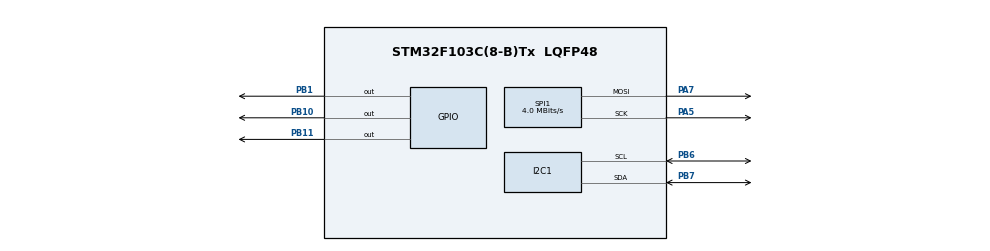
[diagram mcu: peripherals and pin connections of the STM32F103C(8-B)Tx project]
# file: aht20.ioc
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Mcu.Family=STM32F1
PA7.Mode=TX_Only_Simplex_Unidirect_Master
SPI1.VirtualType=VM_MASTER
PB11.Signal=GPIO_Output
ProjectManager.StackSize=0x400
PA13.Signal=SYS_JTMS-SWDIO
ProjectManager.TargetToolchain=MDK-ARM V5.27
I2C1.I2C_Mode=I2C_Standard
SPI1.Direction=SPI_DIRECTION_2LINES
PB6.Signal=I2C1_SCL
PB6.Mode=I2C
SPI1.CalculateBaudRate=4.0 MBits/s
PB10.Signal=GPIO_Output
PA5.Signal=SPI1_SCK
board=custom
RCC.APB2Freq_Value=8000000
SPI1.Mode=SPI_MODE_MASTER
PA14.Mode=Serial_Wire
PB7.Signal=I2C1_SDA
PA13.Mode=Serial_Wire
Mcu.Name=STM32F103C(8-B)Tx
Mcu.Package=LQFP48
PB1.Signal=GPIO_Output
PB7.Mode=I2C
PA14.Signal=SYS_JTCK-SWCLK
ProjectManager.HeapSize=0x200
NVIC.PriorityGroup=NVIC_PRIORITYGROUP_4
RCC.APB1Freq_Value=8000000
PA7.Signal=SPI1_MOSI
PA5.Mode=TX_Only_Simplex_Unidirect_Master

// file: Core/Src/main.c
/* USER CODE BEGIN Header */
/**
  ******************************************************************************
  * @file           : main.c
  * @brief          : Main program body
  ******************************************************************************
  * @attention
  *
  * <h2><center>&copy; Copyright (c) 2022 STMicroelectronics.
  * All rights reserved.</center></h2>
  *
  * This software component is licensed by ST under BSD 3-Clause license,
  * the "License"; You may not use this file except in compliance with the
  * License. You may obtain a copy of the License at:
  *                        opensource.org/licenses/BSD-3-Clause
  *
  ******************************************************************************
  */
#include <string.h>
#include <stdio.h>
/* USER CODE END Header */
#include "main.h"

I2C_HandleTypeDef hi2c1;

void SystemClock_Config(void);
static void MX_GPIO_Init(void);
static void MX_I2C1_Init(void);
static void MX_SPI1_Init(void);
/* USER CODE BEGIN PFP */
void spi_tx(uint8_t);
void clear_screen();
void send_char(char);
void send_str(char *str, int size);
void send_hex(int);
void reset_lcd();
void set_dc_state(int stat);
void init_nokia5110();
void print_str(char *str, int str_size);

void aht20_init_parms();
int check_calibration_enable_bit();
int send_init_command();
int send_measurment_command();
int read_hum_temp_data(float *hum, float *temp);
int read_measurment_status();
int init_aht20();
/* USER CODE END PFP */

/* USER CODE BEGIN 0 */

#define I2C_TIMEOUT 10000

typedef struct port_pin
{
	int pin;
	GPIO_TypeDef *port;
} port_pin;

typedef struct nokia5110_pin_mapping
{
	port_pin dc;
	port_pin ce;
	port_pin rst;
	port_pin bl;
} nokia5110_pin_mapping;

typedef struct aht20_parm
{
	uint8_t dev_addr;

	uint8_t init_command;
	uint8_t init_command_parms[2];

	uint8_t measurment_command[3];

	uint8_t get_stat_word_command;
} aht20_parm;

nokia5110_pin_mapping nokia5110;
aht20_parm aht20;

#define A 0x1f051f
#define B 0x1f150e
#define C 0x0e0a11
#define D 0x1f0a04
#define E 0x1f1515
#define F 0x1f0505
#define G 0x1f1119
#define H 0x1f041f
#define I 0x111f11
#define J 0x000000
#define K 0x000000
#define L 0x000000
#define M 0x1f061f
#define N 0x1f0c1f
#define O 0x000000
#define P 0x1f0507
#define Q 0x000000
#define R 0x000000
#define S 0x17151d
#define T 0x011f01
#define U 0x1f101f

#define ZERO 	0x1f111f
#define ONE 	0x111f10
#define TWO 	0x1d1517
#define THREE 0x15151f
#define FOUR 	0x07041f
#define FIVE 	0x17151d
#define SIX 	0x1f151d
#define SEVEN 0x01011f
#define EIGHT 0x1f151f
#define NINE 	0x17151f

#define DOT 	0x100000
#define COLON 0x001100

#define SPACE 0x000000
#define STATE_ON  1
#define STATE_OFF 0

/* USER CODE END 0 */

int main(void)
{
  /* USER CODE BEGIN 1 */
	float hum, temp;
	int rc;
  /* USER CODE END 1 */

  /* MCU Configuration--------------------------------------------------------*/

  /* Reset of all peripherals, Initializes the Flash interface and the Systick. */
  HAL_Init();

  /* Configure the system clock */
  SystemClock_Config();

  /* Initialize all configured peripherals */
  MX_GPIO_Init();
  MX_I2C1_Init();
  MX_SPI1_Init();
  /* USER CODE BEGIN 2 */

	// initiate nokia5110 pin configurations
	port_pin dc = {.port = GPIOB, .pin = LL_GPIO_PIN_11};
	port_pin rst = {.port = GPIOB, .pin = LL_GPIO_PIN_10};
	port_pin ce = {.port = GPIOB, .pin = LL_GPIO_PIN_1};
	nokia5110.dc = dc;
	nokia5110.ce = ce;
	nokia5110.rst = rst;
	//

	init_nokia5110();

	rc = init_aht20();
	if(-1 == rc)
	{
		return -1;
	}
  /* USER CODE END 2 */

  /* Infinite loop */
  /* USER CODE BEGIN WHILE */
	char str[50] = {0};
  while (1)
  {
		rc = read_hum_temp_data(&hum, &temp);
		if(-1 == rc)
		{
			return -1;
		}

		sprintf(str, "hum is:%.1f and temp is:%.1f",
		hum,temp
	);
	print_str(str, strlen(str));

	LL_mDelay(4000);

    /* USER CODE END WHILE */

  }
}

void SystemClock_Config(void)
{
  LL_FLASH_SetLatency(LL_FLASH_LATENCY_0);
  while(LL_FLASH_GetLatency()!= LL_FLASH_LATENCY_0)
  {
  }
  LL_RCC_HSI_SetCalibTrimming(16);
  LL_RCC_HSI_Enable();

   /* Wait till HSI is ready */
  while(LL_RCC_HSI_IsReady() != 1)
  {

  }
  LL_RCC_SetAHBPrescaler(LL_RCC_SYSCLK_DIV_1);
  LL_RCC_SetAPB1Prescaler(LL_RCC_APB1_DIV_1);
  LL_RCC_SetAPB2Prescaler(LL_RCC_APB2_DIV_1);
  LL_RCC_SetSysClkSource(LL_RCC_SYS_CLKSOURCE_HSI);

   /* Wait till System clock is ready */
  while(LL_RCC_GetSysClkSource() != LL_RCC_SYS_CLKSOURCE_STATUS_HSI)
  {

  }
  LL_SetSystemCoreClock(8000000);

   /* Update the time base */
  if (HAL_InitTick (TICK_INT_PRIORITY) != HAL_OK)
  {
    Error_Handler();
  }
}

static void MX_I2C1_Init(void)
{

  hi2c1.Instance = I2C1;
  hi2c1.Init.ClockSpeed = 100000;
  hi2c1.Init.DutyCycle = I2C_DUTYCYCLE_2;
  hi2c1.Init.OwnAddress1 = 0;
  hi2c1.Init.AddressingMode = I2C_ADDRESSINGMODE_7BIT;
  hi2c1.Init.DualAddressMode = I2C_DUALADDRESS_DISABLE;
  hi2c1.Init.OwnAddress2 = 0;
  hi2c1.Init.GeneralCallMode = I2C_GENERALCALL_DISABLE;
  hi2c1.Init.NoStretchMode = I2C_NOSTRETCH_DISABLE;
  if (HAL_I2C_Init(&hi2c1) != HAL_OK)
  {
    Error_Handler();
  }

}

static void MX_SPI1_Init(void)
{

  LL_SPI_InitTypeDef SPI_InitStruct = {0};

  LL_GPIO_InitTypeDef GPIO_InitStruct = {0};

  /* Peripheral clock enable */
  LL_APB2_GRP1_EnableClock(LL_APB2_GRP1_PERIPH_SPI1);

  LL_APB2_GRP1_EnableClock(LL_APB2_GRP1_PERIPH_GPIOA);
  /**SPI1 GPIO Configuration
  PA5   ------> SPI1_SCK
  PA7   ------> SPI1_MOSI
  */
  GPIO_InitStruct.Pin = LL_GPIO_PIN_5|LL_GPIO_PIN_7;
  GPIO_InitStruct.Mode = LL_GPIO_MODE_ALTERNATE;
  GPIO_InitStruct.Speed = LL_GPIO_SPEED_FREQ_HIGH;
  GPIO_InitStruct.OutputType = LL_GPIO_OUTPUT_PUSHPULL;
  LL_GPIO_Init(GPIOA, &GPIO_InitStruct);

  /* SPI1 parameter configuration*/
  SPI_InitStruct.TransferDirection = LL_SPI_FULL_DUPLEX;
  SPI_InitStruct.Mode = LL_SPI_MODE_MASTER;
  SPI_InitStruct.DataWidth = LL_SPI_DATAWIDTH_8BIT;
  SPI_InitStruct.ClockPolarity = LL_SPI_POLARITY_LOW;
  SPI_InitStruct.ClockPhase = LL_SPI_PHASE_1EDGE;
  SPI_InitStruct.NSS = LL_SPI_NSS_SOFT;
  SPI_InitStruct.BaudRate = LL_SPI_BAUDRATEPRESCALER_DIV2;
  SPI_InitStruct.BitOrder = LL_SPI_MSB_FIRST;
  SPI_InitStruct.CRCCalculation = LL_SPI_CRCCALCULATION_DISABLE;
  SPI_InitStruct.CRCPoly = 10;
  LL_SPI_Init(SPI1, &SPI_InitStruct);

}

static void MX_GPIO_Init(void)
{
  LL_GPIO_InitTypeDef GPIO_InitStruct = {0};

  /* GPIO Ports Clock Enable */
  LL_APB2_GRP1_EnableClock(LL_APB2_GRP1_PERIPH_GPIOA);
  LL_APB2_GRP1_EnableClock(LL_APB2_GRP1_PERIPH_GPIOB);

  /**/
  LL_GPIO_ResetOutputPin(GPIOB, LL_GPIO_PIN_1|LL_GPIO_PIN_10|LL_GPIO_PIN_11);

  /**/
  GPIO_InitStruct.Pin = LL_GPIO_PIN_1|LL_GPIO_PIN_10|LL_GPIO_PIN_11;
  GPIO_InitStruct.Mode = LL_GPIO_MODE_OUTPUT;
  GPIO_InitStruct.Speed = LL_GPIO_SPEED_FREQ_LOW;
  GPIO_InitStruct.OutputType = LL_GPIO_OUTPUT_PUSHPULL;
  LL_GPIO_Init(GPIOB, &GPIO_InitStruct);

}

/* USER CODE BEGIN 4 */
void set_dc_state(int stat)
{
	LL_mDelay(10);
	if(0 == stat)
	{
		LL_GPIO_ResetOutputPin(nokia5110.dc.port, nokia5110.dc.pin);
	}
	else if(1 == stat)
	{
		LL_GPIO_SetOutputPin(nokia5110.dc.port, nokia5110.dc.pin);
	}
}

void reset_lcd()
{
	LL_GPIO_SetOutputPin(nokia5110.rst.port, nokia5110.rst.pin);
	LL_mDelay(10);
	LL_GPIO_ResetOutputPin(nokia5110.rst.port, nokia5110.rst.pin);
	LL_mDelay(10);
	LL_GPIO_SetOutputPin(nokia5110.rst.port, nokia5110.rst.pin);
}

void spi_tx(uint8_t data)
{
		while(!LL_SPI_IsActiveFlag_TXE(SPI1));
		LL_SPI_TransmitData8(SPI1, data);
		if(LL_SPI_IsActiveFlag_RXNE(SPI1))
		{}
}

void clear_screen()
{
	for(int y = 0; y < 6; y++)
	{
		for(int i = 0; i < 84; i++)
		{
			spi_tx(0x00);
		}
	}

}

void send_char(char alph)
{
	switch(alph)
	{
		case 'A':
			send_hex(A);
		break;

		case 'a':
			send_hex(A);
		break;

		case 'B':
			send_hex(B);
		break;

		case 'b':
			send_hex(B);
		break;

		case 'C':
			send_hex(C);
		break;

		case 'c':
			send_hex(C);
		break;

		case 'D':
			send_hex(D);
		break;

		case 'd':
			send_hex(D);
		break;

		case 'E':
			send_hex(E);
		break;

		case 'e':
			send_hex(E);
		break;

		case 'F':
			send_hex(F);
		break;

		case 'f':
			send_hex(F);
		break;

		case 'G':
			send_hex(G);
		break;

		case 'g':
			send_hex(G);
		break;

		case 'H':
			send_hex(H);
		break;

		case 'h':
			send_hex(H);
		break;

		case 'I':
			send_hex(I);
		break;

		case 'i':
			send_hex(I);
		break;

		case 'J':

		break;
		case 'K':

		break;
		case 'L':

		break;

		case 'M':
			send_hex(M);
		break;

		case 'm':
			send_hex(M);
		break;

		case 'N':
			send_hex(N);
		break;

		case 'n':
			send_hex(N);
		break;

		case 'O':

		break;

		case 'P':
			send_hex(P);
		break;

		case 'p':
			send_hex(P);
		break;

		case 'Q':
			send_hex(Q);
		break;

		case 'R':
			send_hex(R);
		break;

		case 'S':
			send_hex(S);
		break;

		case 's':
			send_hex(S);
		break;

		case 'T':
			send_hex(T);
		break;

		case 't':
			send_hex(T);
		break;

		case 'U':
			send_hex(U);
		break;

		case 'u':
			send_hex(U);
		break;

		case ' ':
			send_hex(SPACE);
		break;

		case '1':
			send_hex(ONE);
		break;

		case '2':
			send_hex(TWO);
		break;

		case '3':
			send_hex(THREE);
		break;

		case '4':
			send_hex(FOUR);
		break;

		case '5':
			send_hex(FIVE);
		break;

		case '6':
			send_hex(SIX);
		break;

		case '7':
			send_hex(SEVEN);
		break;

		case '8':
			send_hex(EIGHT);
		break;

		case '9':
			send_hex(NINE);
		break;

		case '0':
			send_hex(ZERO);
		break;

		case '.':
			send_hex(DOT);
		break;

		case ':':
			send_hex(COLON);
		break;

		default:
			send_hex(0xffffff);
			break;
	}

	spi_tx(0x00);

}

void send_hex(int hex)
{
			spi_tx(hex >> 16);
			spi_tx(hex >> 8);
			spi_tx(hex);
}

void send_str(char *str, int size)
{
	for(int i = 0; i < size; i++)
	{
		send_char(str[i]);
	}
}

void init_nokia5110()
{
	reset_lcd();

	set_dc_state(STATE_OFF); // DC to 0

	// set SCE to high to initialize serial protocol
	LL_GPIO_SetOutputPin(nokia5110.ce.port, nokia5110.ce.pin);
	LL_mDelay(10);

	LL_SPI_Enable(SPI1);

	// set CE to low
	LL_GPIO_ResetOutputPin(nokia5110.ce.port, nokia5110.ce.pin); // SCE to 0
	spi_tx(0x21); // function set PD=0 and V=0, select extended instruction set (H=1)
	spi_tx(0xff); // setting voltage
	spi_tx(0x20); // return to normal instruction set, PD=0, V=0, H=0
	spi_tx(0x0c); // display control set normal mode, D=1 and E=0

}

void print_str(char *str, int str_size)
{
	uint8_t init_x = 0x80;
	set_dc_state(STATE_ON); // DC to 1
	clear_screen();
	set_dc_state(STATE_OFF); // DC to 0
	spi_tx(init_x);
	spi_tx(0x40);
	set_dc_state(STATE_ON);// DC to 1
	send_str(str, str_size);
  set_dc_state(STATE_OFF);
}

//////////////
///////////////
/////////////
////////////////
int init_aht20()
{
	int rc;

	aht20_init_parms();

	LL_mDelay(100);

	rc = check_calibration_enable_bit();
	if(0 == rc)
	{
		if(-1 == send_init_command())
		{
			return -1;
		}
		LL_mDelay(10);
	}
	else if(-1 == rc)
	{
		return -1;
	}
}
void aht20_init_parms()
{
	aht20.dev_addr = 0x38;

	aht20.init_command = 0xbe;
	aht20.init_command_parms[0] = 0x08;
	aht20.init_command_parms[1] = 0x00;

	aht20.measurment_command[0] = 0xac;
	aht20.measurment_command[1] = 0x33;
	aht20.measurment_command[2] = 0x00;

	aht20.get_stat_word_command = 0x71;
}

int check_calibration_enable_bit()
{
	uint8_t stat_word = 0x00;
	int rc;

	rc = HAL_I2C_Master_Transmit(&hi2c1, (aht20.dev_addr << 1) , &aht20.get_stat_word_command,
													sizeof(aht20.get_stat_word_command), I2C_TIMEOUT);
	if(HAL_OK != rc)
	{
		return -1;
	}

	rc = HAL_I2C_Master_Receive(&hi2c1, (aht20.dev_addr << 1) | 0x01, &stat_word, sizeof(stat_word), I2C_TIMEOUT);
	if(HAL_OK != rc)
		return -1;

	if(0x01 == ( (stat_word >> 3) & 0x01 )) // 1 : calibrated, 0 : uncalibrated
	{
		return 1;
	}

	return 0;

}

int send_init_command()
{
	int rc;

	rc = HAL_I2C_Master_Transmit(&hi2c1, (aht20.dev_addr << 1),&aht20.init_command,
													sizeof(aht20.init_command), I2C_TIMEOUT);
	if(rc)
		return -1;

	rc = HAL_I2C_Master_Transmit(&hi2c1, (aht20.dev_addr << 1), aht20.init_command_parms,
													sizeof(aht20.init_command_parms), I2C_TIMEOUT);

	if(rc)
		return -1;

	return 0;
}

int send_measurment_command()
{
	int rc;

	rc = HAL_I2C_Master_Transmit(&hi2c1, (aht20.dev_addr << 1), aht20.measurment_command,
													sizeof(aht20.measurment_command), I2C_TIMEOUT);
	if(HAL_OK != rc)
	{
		return -1;
	}

	return 0;
}

int read_hum_temp_data(float *hum, float *temp)
{
	int rc;
	uint8_t pData[7] = {0x00, 0x00, 0x00, 0x00, 0x00, 0x00, 0x00};
	uint32_t humData = 0;
	uint32_t tempData = 0;

	rc = send_measurment_command();
	if(-1 == rc)
	{
		return -1;
	}
	LL_mDelay(80);

	rc = read_measurment_status();
	if(-1 == rc || 0 == rc)
	{
		return -1;
	}

	rc = HAL_I2C_Master_Receive(&hi2c1, (aht20.dev_addr << 1) | 0x01, pData, sizeof(pData), I2C_TIMEOUT);
	if(HAL_OK != rc)
	{
		return -1;
	}

	humData = (humData | pData[1]) << 8;
	humData = (humData | pData[2]) << 8;
	humData = (humData | pData[3]);
	humData = humData >> 4;
	*hum = (float)(humData*100*10/1024/1024) / 10;

	tempData = (tempData | pData[3]) << 8;
	tempData = (tempData | pData[4]) << 8;
	tempData = (tempData | pData[5]);
	tempData = tempData&0x0fffff;
	*temp = (float)(tempData*200*10/1024/1024-500) / 10;

	return 0;
}

int read_measurment_status()
{
	int rc;
	int counter = 0;
	uint8_t stat_word = 0x00;

	rc = HAL_I2C_Master_Transmit(&hi2c1, (aht20.dev_addr << 1) | 0x01, &aht20.get_stat_word_command,
													sizeof(aht20.get_stat_word_command), I2C_TIMEOUT);
	if(HAL_OK != rc)
	{
		return -1;
	}

	rc = HAL_I2C_Master_Receive(&hi2c1, (aht20.dev_addr << 1) | 0x01, &stat_word, sizeof(stat_word), I2C_TIMEOUT);
	if(HAL_OK != rc)
	{
		return -1;
	}

	while((stat_word & 0x80) == 0x80) // 1 : calibrated, 0 : uncalibrated
	{
		counter++;
		rc = HAL_I2C_Master_Receive(&hi2c1, (aht20.dev_addr << 1) | 0x01, &stat_word, sizeof(stat_word), I2C_TIMEOUT);
		if(HAL_OK != rc)
		{
			return -1;
		}
		if(100 == counter)
			return 0;
	}

	return 1;

}
/* USER CODE END 4 */

void Error_Handler(void)
{
  __disable_irq();
  while (1)
  {
  }
}

/************************ (C) COPYRIGHT STMicroelectronics *****END OF FILE****/
